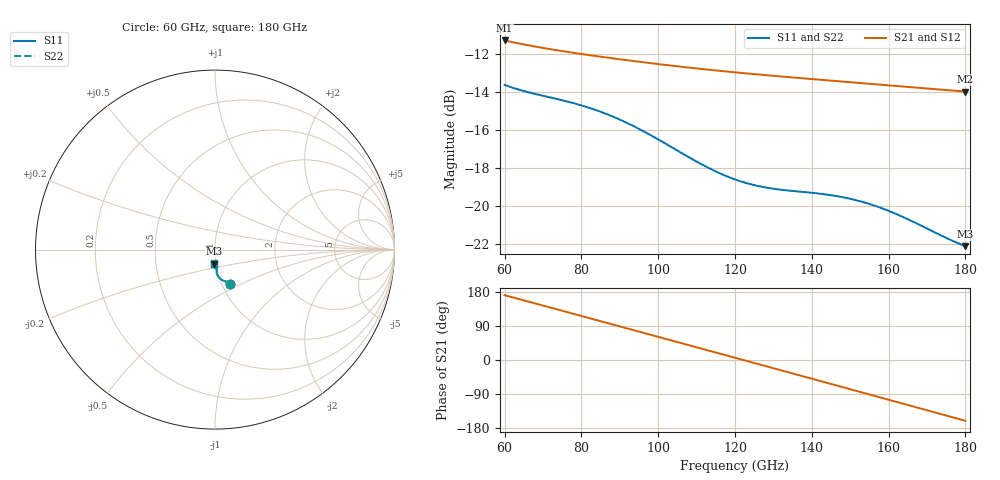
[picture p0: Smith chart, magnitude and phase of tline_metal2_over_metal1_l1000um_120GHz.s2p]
#  GHZ S DB R 50
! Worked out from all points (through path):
!   101 points, 60 GHz to 180 GHz, reference 50 ohm
!   highest |S21| = -11.27 dB at 60 GHz (marker M1); lowest = -14.0 dB at 180 GHz (marker M2)
!   group delay of S21, straight-line fit = 7.67 ps
!   lowest |S11| = -22.1 dB at 180 GHz (marker M3), VSWR 1.17, Z = 48.9 - j7.71 ohm
!   |S11| at or under -10 dB: start of sweep to end of sweep
!   |S22| runs from -22.3 to -13.7 dB; largest |S21 - S12| = 4e-14
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60  -13.61 -66.3  -11.27 171.0  -11.27 171.0  -13.65 -66.6
64.8  -13.92 -67.1  -11.47 157.9  -11.47 157.9  -13.97 -67.4
70.8  -14.22 -68.8  -11.69 141.5  -11.69 141.5  -14.28 -69.1
75.6  -14.45 -70.8  -11.85 128.3  -11.85 128.3  -14.51 -71.1
80.4  -14.72 -73.3  -11.99 115.1  -11.99 115.1  -14.78 -73.5
85.2  -15.04 -76.0  -12.13 101.9  -12.13 101.9  -15.11 -76.2
90  -15.44 -78.7  -12.26 88.7  -12.26 88.7  -15.51 -78.9
94.8  -15.91 -81.2  -12.38 75.4  -12.38 75.4  -15.98 -81.4
100.8  -16.58 -83.7  -12.53 58.9  -12.53 58.9  -16.66 -83.9
110.4  -17.70 -85.7  -12.75 32.4  -12.75 32.4  -17.78 -85.9
115.2  -18.19 -85.8  -12.85 19.2  -12.85 19.2  -18.28 -85.9
120  -18.59 -85.4  -12.95 5.9  -12.95 5.9  -18.68 -85.5
124.8  -18.88 -84.8  -13.04 -7.3  -13.04 -7.3  -18.98 -84.9
129.6  -19.07 -84.5  -13.12 -20.6  -13.12 -20.6  -19.17 -84.6
134.4  -19.19 -84.7  -13.21 -33.8  -13.21 -33.8  -19.29 -84.7
140.4  -19.31 -85.7  -13.31 -50.5  -13.31 -50.5  -19.41 -85.7
146.4  -19.47 -87.5  -13.41 -67.1  -13.41 -67.1  -19.58 -87.5
151.2  -19.67 -89.3  -13.49 -80.4  -13.49 -80.4  -19.79 -89.3
156  -19.95 -91.1  -13.57 -93.8  -13.57 -93.8  -20.07 -91.1
160.8  -20.32 -92.8  -13.65 -107.1  -13.65 -107.1  -20.44 -92.7
171.6  -21.34 -94.6  -13.83 -137.1  -13.83 -137.1  -21.49 -94.5
180  -22.11 -93.5  -13.96 -160.4  -13.96 -160.4  -22.29 -93.3
